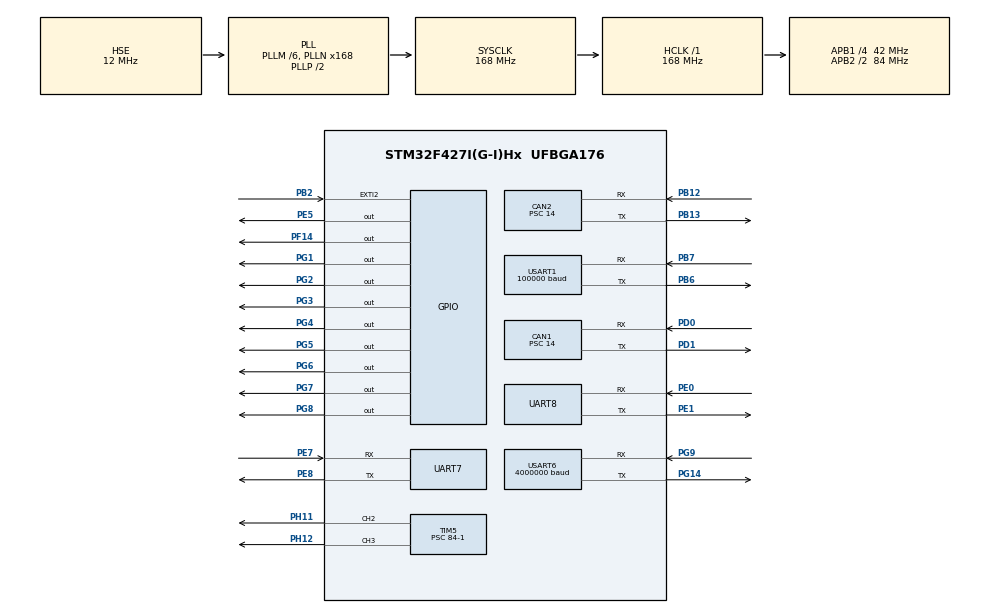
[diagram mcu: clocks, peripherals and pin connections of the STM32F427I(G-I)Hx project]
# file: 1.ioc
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CAN1.BS1=CAN_BS1_9TQ
CAN1.BS2=CAN_BS2_2TQ
CAN1.CalculateBaudRate=249999
CAN1.CalculateTimeBit=4000
CAN1.CalculateTimeQuantum=333.33333333333337
CAN1.Prescaler=14
CAN2.BS1=CAN_BS1_9TQ
CAN2.BS2=CAN_BS2_2TQ
CAN2.CalculateBaudRate=249999
CAN2.CalculateTimeBit=4000
CAN2.CalculateTimeQuantum=333.33333333333337
CAN2.Prescaler=14
Dma.Request0=UART7_TX
Dma.Request1=USART1_RX
Dma.Request2=UART8_RX
Dma.Request3=UART8_TX
Dma.Request4=USART6_RX
Dma.Request5=USART6_TX
Dma.UART7_TX.0.Direction=DMA_MEMORY_TO_PERIPH
Dma.UART7_TX.0.FIFOMode=DMA_FIFOMODE_DISABLE
Dma.UART7_TX.0.Instance=DMA1_Stream1
Dma.UART7_TX.0.MemDataAlignment=DMA_MDATAALIGN_BYTE
Dma.UART7_TX.0.MemInc=DMA_MINC_ENABLE
Dma.UART7_TX.0.Mode=DMA_NORMAL
Dma.UART7_TX.0.PeriphDataAlignment=DMA_PDATAALIGN_BYTE
Dma.UART7_TX.0.PeriphInc=DMA_PINC_DISABLE
Dma.UART7_TX.0.Priority=DMA_PRIORITY_LOW
Dma.UART8_RX.2.Direction=DMA_PERIPH_TO_MEMORY
Dma.UART8_RX.2.FIFOMode=DMA_FIFOMODE_DISABLE
Dma.UART8_RX.2.Instance=DMA1_Stream6
Dma.UART8_RX.2.MemDataAlignment=DMA_MDATAALIGN_BYTE
Dma.UART8_RX.2.MemInc=DMA_MINC_ENABLE
Dma.UART8_RX.2.Mode=DMA_CIRCULAR
Dma.UART8_RX.2.PeriphDataAlignment=DMA_PDATAALIGN_BYTE
Dma.UART8_RX.2.PeriphInc=DMA_PINC_DISABLE
Dma.UART8_RX.2.Priority=DMA_PRIORITY_LOW
Dma.UART8_TX.3.Direction=DMA_MEMORY_TO_PERIPH
Dma.UART8_TX.3.FIFOMode=DMA_FIFOMODE_DISABLE
Dma.UART8_TX.3.Instance=DMA1_Stream0
Dma.UART8_TX.3.MemDataAlignment=DMA_MDATAALIGN_BYTE
Dma.UART8_TX.3.MemInc=DMA_MINC_ENABLE
Dma.UART8_TX.3.Mode=DMA_NORMAL
Dma.UART8_TX.3.PeriphDataAlignment=DMA_PDATAALIGN_BYTE
Dma.UART8_TX.3.PeriphInc=DMA_PINC_DISABLE
Dma.UART8_TX.3.Priority=DMA_PRIORITY_LOW
Dma.USART1_RX.1.Direction=DMA_PERIPH_TO_MEMORY
Dma.USART1_RX.1.FIFOMode=DMA_FIFOMODE_DISABLE
Dma.USART1_RX.1.Instance=DMA2_Stream2
Dma.USART1_RX.1.MemDataAlignment=DMA_MDATAALIGN_BYTE
Dma.USART1_RX.1.MemInc=DMA_MINC_ENABLE
Dma.USART1_RX.1.Mode=DMA_NORMAL
Dma.USART1_RX.1.PeriphDataAlignment=DMA_PDATAALIGN_BYTE
Dma.USART1_RX.1.PeriphInc=DMA_PINC_DISABLE
Dma.USART1_RX.1.Priority=DMA_PRIORITY_LOW
Dma.USART6_RX.4.Direction=DMA_PERIPH_TO_MEMORY
Dma.USART6_RX.4.FIFOMode=DMA_FIFOMODE_DISABLE
Dma.USART6_RX.4.Instance=DMA2_Stream1
Dma.USART6_RX.4.MemDataAlignment=DMA_MDATAALIGN_BYTE
Dma.USART6_RX.4.MemInc=DMA_MINC_ENABLE
Dma.USART6_RX.4.Mode=DMA_CIRCULAR
Dma.USART6_RX.4.PeriphDataAlignment=DMA_PDATAALIGN_BYTE
Dma.USART6_RX.4.PeriphInc=DMA_PINC_DISABLE
Dma.USART6_RX.4.Priority=DMA_PRIORITY_LOW
Dma.USART6_TX.5.Direction=DMA_MEMORY_TO_PERIPH
Dma.USART6_TX.5.FIFOMode=DMA_FIFOMODE_DISABLE
Dma.USART6_TX.5.Instance=DMA2_Stream6
Dma.USART6_TX.5.MemDataAlignment=DMA_MDATAALIGN_BYTE
Dma.USART6_TX.5.MemInc=DMA_MINC_ENABLE
Dma.USART6_TX.5.Mode=DMA_NORMAL
Dma.USART6_TX.5.PeriphDataAlignment=DMA_PDATAALIGN_BYTE
Dma.USART6_TX.5.PeriphInc=DMA_PINC_DISABLE
Dma.USART6_TX.5.Priority=DMA_PRIORITY_LOW
Mcu.Family=STM32F4
Mcu.Name=STM32F427I(G-I)Hx
Mcu.Package=UFBGA176
NVIC.CAN1_RX0_IRQn=true\:5\:0\:true\:false\:true\:true\:true\:true
NVIC.CAN2_RX0_IRQn=true\:5\:0\:true\:false\:true\:true\:true\:true
NVIC.DMA1_Stream0_IRQn=true\:3\:0\:true\:false\:true\:false\:true\:true
NVIC.DMA1_Stream1_IRQn=true\:0\:0\:true\:false\:true\:false\:true\:true
NVIC.DMA1_Stream6_IRQn=true\:3\:0\:true\:false\:true\:false\:true\:true
NVIC.DMA2_Stream1_IRQn=true\:2\:0\:true\:false\:true\:false\:true\:true
NVIC.DMA2_Stream2_IRQn=true\:3\:0\:true\:false\:true\:false\:true\:true
NVIC.DMA2_Stream6_IRQn=true\:2\:0\:true\:false\:true\:false\:true\:true
NVIC.EXTI2_IRQn=true\:0\:0\:false\:false\:true\:true\:true\:true
NVIC.PriorityGroup=NVIC_PRIORITYGROUP_4
NVIC.TIM1_UP_TIM10_IRQn=true\:0\:0\:false\:false\:true\:true\:true\:true
NVIC.TIM5_IRQn=true\:0\:0\:false\:false\:true\:true\:true\:true
NVIC.UART7_IRQn=true\:0\:0\:false\:false\:true\:true\:true\:true
NVIC.USART1_IRQn=true\:0\:0\:false\:false\:true\:true\:true\:true
NVIC.USART6_IRQn=true\:3\:0\:true\:false\:true\:true\:true\:true
PA13.Mode=Serial_Wire
PA13.Signal=SYS_JTMS-SWDIO
PA14.Mode=Serial_Wire
PA14.Signal=SYS_JTCK-SWCLK
PB12.Mode=CAN_Activate
PB12.Signal=CAN2_RX
PB13.Mode=CAN_Activate
PB13.Signal=CAN2_TX
PB2/BOOT1.GPIO_PuPd=GPIO_PULLDOWN
PB2/BOOT1.Signal=GPXTI2
PB6.Mode=Asynchronous
PB6.Signal=USART1_TX
PB7.Mode=Asynchronous
PB7.Signal=USART1_RX
PC14/OSC32_IN.Mode=LSE-External-Oscillator
PC14/OSC32_IN.Signal=RCC_OSC32_IN
PC15/OSC32_OUT.Mode=LSE-External-Oscillator
PC15/OSC32_OUT.Signal=RCC_OSC32_OUT
PD0.Mode=CAN_Activate
PD0.Signal=CAN1_RX
PD1.Mode=CAN_Activate
PD1.Signal=CAN1_TX
PE0.Mode=Asynchronous
PE0.Signal=UART8_RX
PE1.Mode=Asynchronous
PE1.Signal=UART8_TX
PE5.GPIO_ModeDefaultOutputPP=GPIO_MODE_OUTPUT_PP
PE5.GPIO_PuPd=GPIO_PULLDOWN
PE5.Signal=GPIO_Output
PE7.Mode=Asynchronous
PE7.Signal=UART7_RX
PE8.Mode=Asynchronous
PE8.Signal=UART7_TX
PF14.GPIO_PuPd=GPIO_NOPULL
PF14.Signal=GPIO_Output
PG1.PinState=GPIO_PIN_SET
PG1.Signal=GPIO_Output
PG14.Mode=Asynchronous
PG14.Signal=USART6_TX
PG2.PinState=GPIO_PIN_SET
PG2.Signal=GPIO_Output
PG3.PinState=GPIO_PIN_SET
PG3.Signal=GPIO_Output
PG4.PinState=GPIO_PIN_SET
PG4.Signal=GPIO_Output
PG5.PinState=GPIO_PIN_SET
PG5.Signal=GPIO_Output
PG6.PinState=GPIO_PIN_SET
PG6.Signal=GPIO_Output
PG7.PinState=GPIO_PIN_SET
PG7.Signal=GPIO_Output
PG8.PinState=GPIO_PIN_SET
PG8.Signal=GPIO_Output
PG9.Mode=Asynchronous
PG9.Signal=USART6_RX
PH0/OSC_IN.Mode=HSE-External-Oscillator
PH0/OSC_IN.Signal=RCC_OSC_IN
PH1/OSC_OUT.Mode=HSE-External-Oscillator
PH1/OSC_OUT.Signal=RCC_OSC_OUT
PH11.GPIO_PuPd=GPIO_NOPULL
PH11.GPIO_Speed=GPIO_SPEED_FREQ_MEDIUM
PH11.Signal=S_TIM5_CH2
PH12.GPIO_PuPd=GPIO_NOPULL
PH12.GPIO_Speed=GPIO_SPEED_FREQ_MEDIUM
PH12.Signal=S_TIM5_CH3
ProjectManager.HeapSize=0x200
ProjectManager.StackSize=0x400
ProjectManager.TargetToolchain=CMake
RCC.48MHZClocksFreq_Value=84000000
RCC.AHBFreq_Value=168000000
RCC.APB1CLKDivider=RCC_HCLK_DIV4
RCC.APB1Freq_Value=42000000
RCC.APB1TimFreq_Value=84000000
RCC.APB2CLKDivider=RCC_HCLK_DIV2
RCC.APB2Freq_Value=84000000
RCC.APB2TimFreq_Value=168000000
RCC.CortexFreq_Value=168000000
RCC.HCLKFreq_Value=168000000
RCC.HSE_VALUE=12000000
RCC.HSI_VALUE=16000000
RCC.PLLM=6
RCC.PLLN=168
RCC.PLLSourceVirtual=RCC_PLLSOURCE_HSE
RCC.SYSCLKFreq_VALUE=168000000
RCC.SYSCLKSource=RCC_SYSCLKSOURCE_PLLCLK
RCC.VCOOutputFreq_Value=336000000
SH.S_TIM5_CH2.0=TIM5_CH2,PWM Generation2 CH2
SH.S_TIM5_CH3.0=TIM5_CH3,PWM Generation3 CH3
SH.S_TIM8_CH1.0=TIM8_CH1,PWM Generation1 CH1
SH.S_TIM8_CH2.0=TIM8_CH2,PWM Generation2 CH2
SH.S_TIM8_CH3.0=TIM8_CH3,PWM Generation3 CH3
TIM10.Period=100-1
TIM10.Prescaler=16800-1
TIM5.Channel-PWM\ Generation2\ CH2=TIM_CHANNEL_2
TIM5.Channel-PWM\ Generation3\ CH3=TIM_CHANNEL_3
TIM5.Period=20000-1
TIM5.Prescaler=84-1
TIM8.Channel-PWM\ Generation1\ CH1=TIM_CHANNEL_1
TIM8.Channel-PWM\ Generation2\ CH2=TIM_CHANNEL_2
TIM8.Channel-PWM\ Generation3\ CH3=TIM_CHANNEL_3
TIM8.Period=19999
TIM8.Prescaler=167
TIM9.Prescaler=168-1
UART7.VirtualMode=Asynchronous
UART8.VirtualMode=Asynchronous
USART1.BaudRate=100000
USART1.Mode=MODE_RX
USART1.Parity=PARITY_EVEN
USART1.VirtualMode=VM_ASYNC
USART1.WordLength=WORDLENGTH_9B
USART6.BaudRate=4000000
USART6.VirtualMode=VM_ASYNC
VP_TIM10_VS_ClockSourceINT.Mode=Enable_Timer
VP_TIM5_VS_ClockSourceINT.Mode=Internal
VP_TIM9_VS_ClockSourceINT.Mode=Internal
board=custom

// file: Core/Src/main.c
/* USER CODE BEGIN Header */
/**
  ******************************************************************************
  * @file           : main.c
  * @brief          : Main program body
  ******************************************************************************
  * @attention
  *
  * Copyright (c) 2026 STMicroelectronics.
  * All rights reserved.
  *
  * This software is licensed under terms that can be found in the LICENSE file
  * in the root directory of this software component.
  * If no LICENSE file comes with this software, it is provided AS-IS.
  *
  ******************************************************************************
  */
/* USER CODE END Header */
#include "main.h"
#include "can.h"
#include "dma.h"
#include "tim.h"
#include "usart.h"
#include "gpio.h"

/* USER CODE BEGIN Includes */
#include <stdint.h>
#include <math.h>
#include "motor.h"
#include "gait.h"
#include "crc_ccitt.h"
#include "kinematic.h"
#include "global_var.h"
#include "remote_control.h"
#include "key.h"
#include "pg_led.h"
#include "sucker.h"
#include "imu.h"
#include "pwm_app.h"
#include "ht_10a_remote_control.h"
#include "robot_arm_control.h"
#include "motor_feedback.h"
#include "debug_uart.h"
#include "IMU.h"
#include "filter.h"

#include "usart_demo.h"
#include "vmc.h"
/* USER CODE END Includes */

/* USER CODE BEGIN PM */
uint32_t alive_tick = 0;
/* USER CODE END PM */

/* USER CODE BEGIN PV */

// 9个电机的结构体
Motor_HandleTypeDef hmotor1;
Motor_HandleTypeDef hmotor2;
Motor_HandleTypeDef hmotor3;
Motor_HandleTypeDef hmotor4;
Motor_HandleTypeDef hmotor5;
Motor_HandleTypeDef hmotor6;
Motor_HandleTypeDef hmotor7;
Motor_HandleTypeDef hmotor8;  // 前8个都是腿部电机
Motor_HandleTypeDef hmotor10; // 云台电机

// 四只脚的位置相关结构体
Position_HandleTypeDef hposition1;
Position_HandleTypeDef hposition2;
Position_HandleTypeDef hposition3;
Position_HandleTypeDef hposition4;

/* hposition与电机对应关系
hposition1 : hmotor1(α) , hmotor2(β)
hposition2 : hmotor3(α) , hmotor4(β)
hposition3 : hmotor5(α) , hmotor6(β)
hposition4 : hmotor7(α) , hmotor8(β)
α送奇数号电机，顺时针角度为正的定义为奇数号电机
                        (前)
          hposition4            hposition1

            α      β             β       α
          hmotor7 hmotor8      hmotor2 hmotor1
            \    /                \    /
             \  /                  \  /
              \/                    \/
              /\                    /\
             /  \                  /  \
            /    \                /    \
          hmotor5 hmotor6      hmotor4 hmotor3
          α        β             β        α
          hposition3            hposition2

                        (后)

*/

/* 引入 usart.c 的全局变量 */
//extern volatile uint8_t RS485_RxBuf[16];
//extern volatile uint8_t Receive_OK;

int temp_state = 0;
//static int up_trigger_count = 0;
//static int down_trigger_count = 0;

/* USER CODE END PV */

void SystemClock_Config(void);

int main(void)
{

  /* MCU Configuration--------------------------------------------------------*/

  /* Reset of all peripherals, Initializes the Flash interface and the Systick. */
  HAL_Init();

  /* Configure the system clock */
  SystemClock_Config();

  /* Initialize all configured peripherals */
  MX_GPIO_Init();
  MX_DMA_Init();
  MX_USART6_UART_Init();
  MX_UART7_Init();
  MX_USART1_UART_Init();
  MX_CAN1_Init();
  MX_TIM5_Init();
  MX_TIM9_Init();
  MX_TIM10_Init();
  MX_UART8_Init();
  MX_CAN2_Init();
  /* USER CODE BEGIN 2 */

	HAL_TIM_Base_Start_IT(&htim10);
	HAL_TIM_Base_Start(&htim9);
	PWM_Init();

	//remote_control_init(); // 初始化遥控器
	sbus_remote_control_init(); // 初始化遥控器hot rc

	init_motor_parameters();// 初始化电机参数
	remap_motor_ids(); // 重映射id
 Motor_Feedback_Init();
  UART8_Demo_Init(); // 初始化 UART8 的 DMA 接收和中断

//	HAL_Delay(100);
	Init_turn_omega_des();

// motor_release();

  /* USER CODE END 2 */

  /* Infinite loop */
  /* USER CODE BEGIN WHILE */

float GyroZ_filtered = 0.0f;
// 滤波系数，0~1，越小越平滑，也越滞后
float alpha = 0.008f;

while (1)
  {
	  Motor_Feedback_Process();
    Motor_Feedback_TimeoutTask();

//
//		for(int i=2;i<10;i++){
//			uint8_t err  = motor_fb[i].error;
//			if(err!=0){
//			motor_release();
//				while(1){}
//			}
//		}

	  //      滤波测试
//	  while(1)
//	  {
//	  GyroZ_filtered = alpha * GyroZ + (1 - alpha) * GyroZ_filtered;
////	  float yaw_Kalman;
////	  yaw_Kalman = Kalman_Filter(&KF_Yaw, body_yaw,GyroZ );
////		float f[3]={yaw_Kalman,body_yaw,GyroZ};
////		  Vofa_JustFloat(f,3);
////     Kalman(&GyroZ_Kalman,body_yaw);
////		body_yaw=GyroZ_Kalman.Out;
////		       Kalman(&GyroZ_Kalman,GyroZ_filtered);
////		GyroZ_filtered=GyroZ_Kalman.Out;

//	  float f[3]={GyroZ,GyroZ_filtered,body_yaw};
//		  Vofa_JustFloat(f,3);
//	  HAL_Delay(1);
//  }
  // --------------循环配置----------------
    UART8_Demo_Process(); // 处理 UART8 接收的树莓派数据，更新 rcData 结构体

	  stab_roll = 0.0f;// 平衡角度归零

    // -------------急停模式调试------------------
//  if (motor_release_flag == 1){
//	motor_release_flag=0;
//	init_motor_parameters();
//  }

    // -------------机械臂6调试------------------
//	while(1){
//	hmotor4.Kp =0.1f;
//	gimbal_send_unitree(60.0f); // 发送云台控制指令，参数为期望的云台角度
//
//	}
//

    // -------------位置控制测试-----------------

// while(1){
//	float x = 0.0f;
//	float y =25.0f;
//	hposition1.B_y = y;
//	hposition1.B_x = x;
//	hposition2.B_y = y;
//	hposition2.B_x = x;
//	hposition3.B_y = y;
//	hposition3.B_x = x;
//	hposition4.B_y = y;
//	hposition4.B_x = x;
//	crawl_inverseKinematic_All();
//	Motor_SendCmd_AllAngle();
//	HAL_Delay(10);
// }

//	//----------4/4单电机通信调试----------
//接收

//while(1){
////	MotorTest_Sweep(1, 0.4f);
////	MotorTest_Sweep(2, 0.4f);
//	MotorTest_Sweep(3, 0.4f);
//	MotorTest_Sweep(4, 0.4f);
////	MotorTest_Sweep(5, 0.4f);
////	MotorTest_Sweep(6, 0.4f);
////	MotorTest_Sweep(7, 0.4f);
////	MotorTest_Sweep(8, 0.4f);
//// 	MotorTest_Sweep(9, 0.4f);
////	MotorTest_Sweep(10, 0.4f);
////	MotorTest_Sweep(11, 0.4f);
//// 	MotorTest_Sweep(12, 0.4f);
//// 	MotorTest_Sweep(13, 0.4f);
////	MotorTest_Sweep(14, 0.4f);
////	MotorTest_Sweep(15, 0.4f);
//}

  // -------------遥控控制部分------------------
	// 说明：此处主要控制非状态机函数

  // // 树莓派请求行走，没用到，看后续怎么进入行走状态
  // if (uart8_walk_request) {
  //     rcData.sw5 = 0x0320;
  //     rcData.sw7 = 0x0320;
  //     uart8_walk_request = 0;
  // }

  // 遥控取值：上   0xFCE0
  //                0x0320
  //           下   0x0000
  /* 功能说明
  *    sw5    sw6    sw7    sw8    代码位置    功能              state
  *   0xFCE0   -      -      -       tim10     急停               -(不在switch中)
  *   0x0000   -    0xFCE0   -       mian      跳跃               3
  *   0x0000   -    0x0320   -       mian      站立               4
  *   0x0320   -      -      0xFCE0  mian      遥控控制行走        1
  *   0x0320   -      -      0x0000  mian      树莓派控制行走      2
  *     -    0xFCE0   -      -       tim10     调腿高
  *     -    0x0320   -      -       tim10     调步频
  *
  */

	//if (rcData.sw5 == 0xFCE0||imu_emergency_stop()){emergency_stop = 1;} // 侧翻急停开启版
//	if (rcData.sw5 == 0xFCE0){ emergency_stop = 1;} // 侧翻急停关闭版
//  else{ emergency_stop = 0;}

//  if (rcData.sw5 == 0x0000 && rcData.sw7 == 0xFCE0){ temp_state=6;} // 跳跃，注意是非状态机函数
//	if (rcData.sw5 == 0x0000 && rcData.sw7 == 0x0320){ temp_state=4;}	// 站立
//  if (rcData.sw5 == 0x0320 && rcData.sw8 == 0xFCE0){ temp_state=1;} // 遥控控制
//  if (rcData.sw5 == 0x0320 && rcData.sw8 == 0x0000){                  // 树莓派控制
//      temp_state = uart8_walk_request ? 2 : 12;                     // 有数据→走(case2)，超时→站(case12)
//  }
if (rcData.sw8 == 0xFCE0){ emergency_stop = 1;} // 侧翻急停关闭版
  else{ emergency_stop = 0;}

  if (rcData.sw8 == 0x0000 && rcData.sw7 == 0xFCE0){ temp_state=6;} // 跳跃，注意是非状态机函数
	if (rcData.sw8 == 0x0000 && rcData.sw7 == 0x0320){ temp_state=4;}	// 站立

  if (rcData.sw8 == 0x0320 ){ temp_state=1;} // 遥控控制

  /* ── VMC 力矩前馈仅在常规步态/站立下生效；跳跃(6)等爆发动作关闭 ── */
  vmc_active = (temp_state == 6) ? 0 : 1;

  // -------------一些未用上的功能------------------
// 捡箱子功能
//		static int16_t sucker_state_count = 0;
//		sucker_state_count++;
//		motion_Down(15.0f, walk_height);
//		PWM_Set((sucker_state_count % 2 == 1) ? PWM_OUT : PWM_IN);
//		HAL_Delay(2000);
//		motion_Up(walk_height, 15.0f);

// 过限高杆
//		temp_state=6;

// 坐标系翻转
// flip_body();
// HAL_Delay(1000);

// 		Body_Roll_Stabilizer();// 体滚转稳定

	// -----------状态机函数----------------
	//temp_state=1;

	flip_offset = 0.0f;
if (emergency_stop==1){
	motor_release();
}else{
	    static uint8_t prev_temp_state = 0;  /* 上一帧的状态，用于检测切换 */
    switch (temp_state)
    {
        case 1:
        // 遥控控制行走
		    motion_Mix(walk_height, 8.0f, max_stride*rcData.R_y,rcData.R_x);
        break;

        case 2:
        // 树莓派控制行走
		    motion_Mix(walk_height, 8.0f, max_stride*front_speed, turn_omega);
        break;

        case 3: // 跳跃
       //树莓派测试的时候不用，安全起见
				//motion_Jump(15.0f);
        break;

        case 4: // 站立
		    motion_Mix(walk_height, 0.0000001f, 0.0f, 0.0f);
        break;

        case 5:

        break;

        case 6: // 匍匐，过限高杆

				  motion_SmallJump();//过于垂直
  		  //  motion_LeanJump	();//每次一块砖
				//motion_SlopeJump();
        break;

        case 7:// 前空翻
			//motion_Frontflip();
			//motion_LeanJump	();

        break;

        case 8:
			//test_circle();
        break;

	    	case 12: // RPi 超时自动站立
            motion_Mix(walk_height, 0.0000001f, 0.0f, 0.0f);
        break;

        default:
			motion_StandBy(walk_height) ;
            break;
    }
	    prev_temp_state = temp_state;
}

    /* USER CODE END WHILE */

  }
}

void SystemClock_Config(void)
{
  RCC_OscInitTypeDef RCC_OscInitStruct = {0};
  RCC_ClkInitTypeDef RCC_ClkInitStruct = {0};

  /** Configure the main internal regulator output voltage
  */
  __HAL_RCC_PWR_CLK_ENABLE();
  __HAL_PWR_VOLTAGESCALING_CONFIG(PWR_REGULATOR_VOLTAGE_SCALE1);

  /** Initializes the RCC Oscillators according to the specified parameters
  * in the RCC_OscInitTypeDef structure.
  */
  RCC_OscInitStruct.OscillatorType = RCC_OSCILLATORTYPE_HSE;
  RCC_OscInitStruct.HSEState = RCC_HSE_ON;
  RCC_OscInitStruct.PLL.PLLState = RCC_PLL_ON;
  RCC_OscInitStruct.PLL.PLLSource = RCC_PLLSOURCE_HSE;
  RCC_OscInitStruct.PLL.PLLM = 6;
  RCC_OscInitStruct.PLL.PLLN = 168;
  RCC_OscInitStruct.PLL.PLLP = RCC_PLLP_DIV2;
  RCC_OscInitStruct.PLL.PLLQ = 4;
  if (HAL_RCC_OscConfig(&RCC_OscInitStruct) != HAL_OK)
  {
    Error_Handler();
  }

  /** Initializes the CPU, AHB and APB buses clocks
  */
  RCC_ClkInitStruct.ClockType = RCC_CLOCKTYPE_HCLK|RCC_CLOCKTYPE_SYSCLK
                              |RCC_CLOCKTYPE_PCLK1|RCC_CLOCKTYPE_PCLK2;
  RCC_ClkInitStruct.SYSCLKSource = RCC_SYSCLKSOURCE_PLLCLK;
  RCC_ClkInitStruct.AHBCLKDivider = RCC_SYSCLK_DIV1;
  RCC_ClkInitStruct.APB1CLKDivider = RCC_HCLK_DIV4;
  RCC_ClkInitStruct.APB2CLKDivider = RCC_HCLK_DIV2;

  if (HAL_RCC_ClockConfig(&RCC_ClkInitStruct, FLASH_LATENCY_5) != HAL_OK)
  {
    Error_Handler();
  }
}

/* USER CODE BEGIN 4 */
// --------private functions---------

/* USER CODE END 4 */

void Error_Handler(void)
{
  __disable_irq();
  while (1)
  {
  }
}
